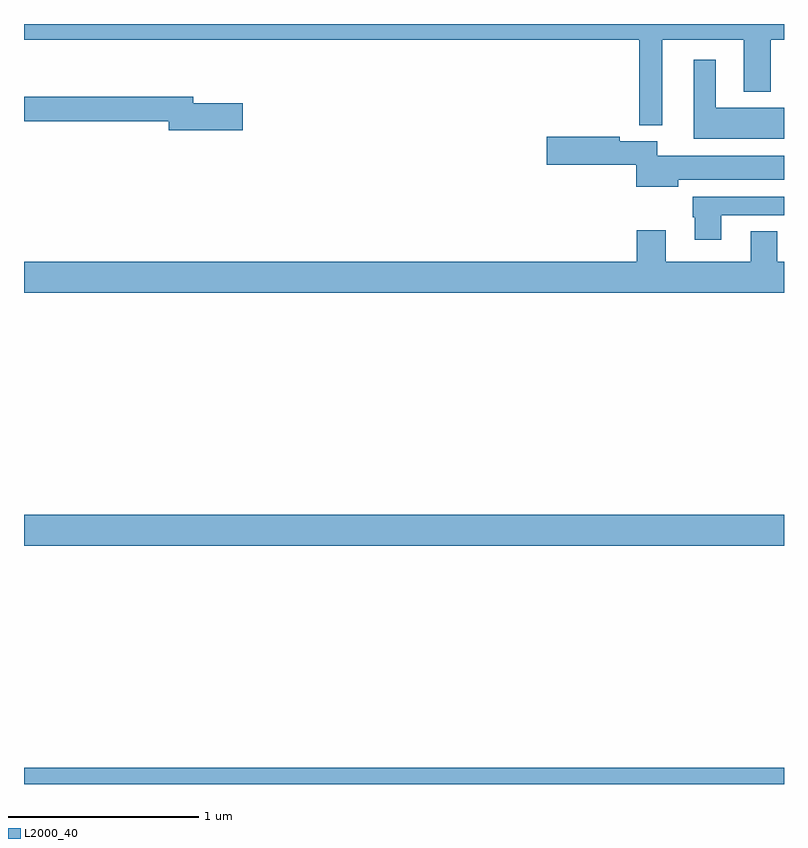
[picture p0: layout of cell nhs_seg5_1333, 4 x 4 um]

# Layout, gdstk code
import gdstk
lib = gdstk.Library(unit=1e-6, precision=1e-09)
def R(c, l, rs):  # rectangles x0, y0, x1, y1
    for r in rs: c.add(gdstk.rectangle(r[:2], r[2:], *l))
def P(c, l, *ps):  # polygons
    for p in ps: c.add(gdstk.Polygon(p, *l))
L2000_40 = (2000, 40)

nhs_seg5_1333 = lib.new_cell('nhs_seg5_1333')
R(nhs_seg5_1333, L2000_40, [(191,896.799,195,896.884), (191,898.052,195,898.216)])
P(nhs_seg5_1333, L2000_40, [(194.359,900.716),(194.789,900.716),(194.789,900.443),(194.929,900.443),(194.929,900.716),(195,900.716),(195,900.799),(191,900.799),(191,900.716),(194.238,900.716),(194.238,900.267),(194.359,900.267)],
  [(195,900.358),(194.641,900.358),(194.641,900.61),(194.525,900.61),(194.525,900.194),(195,900.194)],
  [(192.151,900.381),(191.89,900.381),(191.89,900.415),(191,900.415),(191,900.286),(191.762,900.286),(191.762,900.239),(192.151,900.239)],
  [(194.443,899.978),(195,899.978),(195,900.106),(194.332,900.106),(194.332,900.181),(194.136,900.181),(194.136,900.206),(193.752,900.206),(193.752,900.059),(194.222,900.059),(194.222,899.942),(194.443,899.942)],
  [(194.671,899.793),(195,899.793),(195,899.889),(194.519,899.889),(194.519,899.781),(194.531,899.781),(194.531,899.664),(194.671,899.664)],
  [(195,899.548),(194.965,899.548),(194.965,899.708),(194.825,899.708),(194.825,899.548),(194.377,899.548),(194.377,899.713),(194.225,899.713),(194.225,899.548),(191,899.548),(191,899.384),(195,899.384)])

lib.write_gds('nhs_seg5_1333.gds')
